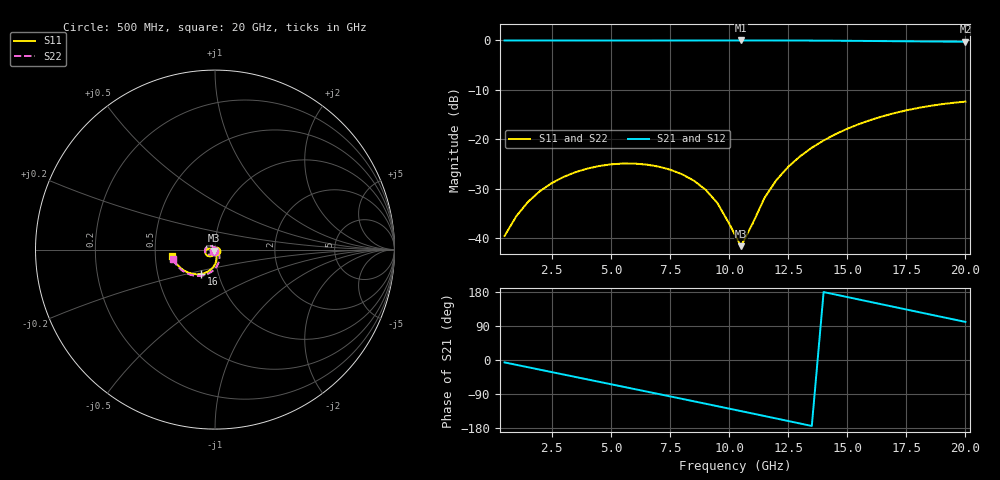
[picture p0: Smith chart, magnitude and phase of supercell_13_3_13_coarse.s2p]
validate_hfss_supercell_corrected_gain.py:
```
#!/usr/bin/env python3
"""Provisional minimal-3WM gain validation using HFSS supercell dispersion."""

from __future__ import annotations

import csv
import json
import logging
import sys
from pathlib import Path

import matplotlib

matplotlib.use("Agg")
import matplotlib.pyplot as plt
import numpy as np


ROOT = Path(__file__).resolve().parents[1]
sys.path[:0] = [str(ROOT / "code"), str(ROOT / "scripts")]

from analyze_hfss_supercell import (  # noqa: E402
    SUPERCELL_CELLS,
    read_touchstone,
)
from hfss_bloch import apply_bloch_parameters  # noqa: E402
from scan_hfss_loading_pattern import make_cell  # noqa: E402
from twpa_project_utils import gain_metrics, load_hfss_cell_parameters  # noqa: E402
from twpasolver import TWPAnalysis  # noqa: E402
from twpasolver.logger import log  # noqa: E402
from twpasolver.models import TWPA  # noqa: E402
from twpasolver.modes_rwa import ModeArrayFactory  # noqa: E402


PUMP_CANDIDATE_GHZ = 13.13
IDC_A = 350e-6
IPUMP_A = 340e-6


def qualified(metrics: dict[str, float]) -> bool:
    return (
        metrics["mean_in_band_gain_db"] >= 15.0
        and metrics["fraction_above_17db"] >= 0.8
        and metrics["ripple_peak_to_peak_db"] <= 3.0
    )


def main() -> None:
    log.setLevel(logging.WARNING)
    inputs = ROOT / "hfss_inputs"
    output = ROOT / "results" / "bloch_corrected" / "step_13_hfss_supercell_validation"
    output.mkdir(parents=True, exist_ok=True)

    cells, provenance = load_hfss_cell_parameters(inputs / "hfss_cell_parameters.csv")
    measured_f, measured_s = read_touchstone(inputs / "supercell_13_3_13_coarse.s2p")

    twpa = TWPA(
        cells=[
            make_cell(cells["unloaded"], 13),
            make_cell(cells["loaded"], 3),
            make_cell(cells["unloaded"], 13),
        ],
        N=1407,
        Istar=2e-3,
        Idc=IDC_A,
        Ip0=IPUMP_A,
    )
    analysis = TWPAnalysis(twpa=twpa, f_arange=(0.2, 20.0, 0.002), unit="GHz")
    analysis.update_base_data()
    signals = np.arange(4.0, 8.0001, 0.1)

    baseline_gain = np.asarray(
        analysis.gain(
            signals,
            pump=PUMP_CANDIDATE_GHZ,
            Is0=1.4e-6,
            Ip0=None,
            model="minimal_3wm",
            mode_array_config="basic_3wm",
            thin=300,
            save=False,
        )["gain_db"]
    )
    baseline_metrics = gain_metrics(signals, baseline_gain)

    bloch_provenance = apply_bloch_parameters(
        analysis.data, measured_f, measured_s, SUPERCELL_CELLS
    )
    analysis.add_mode_array("basic_3wm", ModeArrayFactory.create_basic(analysis.data))

    corrected_candidate_gain = np.asarray(
        analysis.gain(
            signals,
            pump=PUMP_CANDIDATE_GHZ,
            Is0=1.4e-6,
            Ip0=None,
            model="minimal_3wm",
            mode_array_config="basic_3wm",
            thin=300,
            save=False,
        )["gain_db"]
    )
    corrected_candidate_metrics = gain_metrics(signals, corrected_candidate_gain)

    rows = []
    curves: dict[float, np.ndarray] = {}
    for pump in np.arange(13.05, 13.2501, 0.01):
        gain = np.asarray(
            analysis.gain(
                signals,
                pump=float(pump),
                Is0=1.4e-6,
                Ip0=None,
                model="minimal_3wm",
                mode_array_config="basic_3wm",
                thin=300,
                save=False,
            )["gain_db"]
        )
        metrics = gain_metrics(signals, gain)
        row = {
            "pump_GHz": float(pump),
            **metrics,
            "qualified": qualified(metrics),
        }
        rows.append(row)
        curves[float(pump)] = gain

    best = max(
        rows,
        key=lambda row: (
            float(row["qualified"]),
            row["fraction_above_17db"],
            -max(0.0, row["ripple_peak_to_peak_db"] - 3.0),
            -abs(row["mean_in_band_gain_db"] - 20.0),
        ),
    )
    best_gain = curves[best["pump_GHz"]]

    with (output / "05_corrected_pump_scan.csv").open("w", newline="") as handle:
        writer = csv.DictWriter(handle, fieldnames=list(rows[0]))
        writer.writeheader()
        writer.writerows(rows)
    with (output / "05_corrected_gain_curves.csv").open("w", newline="") as handle:
        writer = csv.writer(handle)
        writer.writerow(
            [
                "signal_GHz",
                "uncorrected_13p13GHz_gain_dB",
                "HFSS_corrected_13p13GHz_gain_dB",
                "HFSS_corrected_best_pump_gain_dB",
            ]
        )
        writer.writerows(
            zip(signals, baseline_gain, corrected_candidate_gain, best_gain)
        )

    report = {
        "status": "provisional_from_0p5GHz_spaced_HFSS_Bloch_data",
        "fixed_bias": {"Idc_A": IDC_A, "Ip0_A": IPUMP_A},
        "candidate_pump_GHz": PUMP_CANDIDATE_GHZ,
        "uncorrected_candidate": baseline_metrics,
        "HFSS_corrected_candidate": corrected_candidate_metrics,
        "HFSS_corrected_pump_scan": {
            "range_GHz": [13.05, 13.25],
            "step_GHz": 0.01,
            "qualified_count": sum(bool(row["qualified"]) for row in rows),
            "selected": best,
        },
        "interpretation": (
            "Physical-supercell Bloch parameters change the predicted gain and "
            "remove the previous <=3 dB-ripple qualification at 13.13 GHz. A finer "
            "HFSS sweep is required before a final current/pump optimization."
        ),
        "bloch_extraction": bloch_provenance,
        "hfss_cell_provenance": provenance,
    }
    (output / "05_corrected_gain_assessment.json").write_text(
        json.dumps(report, indent=2) + "\n"
    )

    fig, ax = plt.subplots(figsize=(9, 5))
    ax.plot(signals, baseline_gain, label="lumped model, pump 13.13 GHz")
    ax.plot(signals, corrected_candidate_gain, label="HFSS-corrected, pump 13.13 GHz")
    ax.plot(
        signals,
        best_gain,
        "--",
        label=f"HFSS-corrected scan choice, pump {best['pump_GHz']:.2f} GHz",
    )
    ax.axhline(17, color="k", linestyle=":", label="17 dB target")
    ax.set(
        xlabel="Signal frequency (GHz)",
        ylabel="Minimal-3WM gain (dB)",
        title="Provisional gain impact of physical-supercell dispersion",
    )
    ax.grid(True, alpha=0.3)
    ax.legend(fontsize=8)
    fig.tight_layout()
    fig.savefig(output / "05_corrected_gain_validation.png", dpi=180)
    fig.savefig(output / "05_corrected_gain_validation.pdf")
    plt.close(fig)
    print(json.dumps(report, indent=2))


if __name__ == "__main__":
    main()
```
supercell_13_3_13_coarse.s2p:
! Touchstone file exported from HFSS 2026.1.0
!  File:  C:/Users/urbaneja/Ansys/13-3-3_super_cell.aedt
!  Generated:  12:46:35 PM Aug 11, 2026
!  Design:  HFSSDesign_Supercell_13_3_13
!  Project:  13-3-3_super_cell
!  Setup:  Setup1
!  Solution:  Sweep_supercell_coarse
! Variables:
!  stub_length = 12um
# GHz S RI R 50.000000
! Terminal data exported
! Port[1] = Port1
! Port[2] = Port2
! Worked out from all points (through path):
!   40 points, 500 MHz to 20 GHz, reference 50 ohm
!   highest |S21| = 0.00 dB at 10.5 GHz (marker M1); lowest = -0.3 dB at 20 GHz (marker M2)
!   group delay of S21, straight-line fit = 36.1 ps
!   lowest |S11| = -41.6 dB at 10.5 GHz (marker M3), VSWR 1.02, Z = 49.4 - j0.544 ohm
!   |S11| at or under -10 dB: start of sweep to end of sweep
!   |S22| runs from -41.6 to -12.4 dB; largest |S21 - S12| = 5.2e-05
!   S11 on the Smith chart (normalised r, x): 500 MHz: 1.01, -0.02; 16 GHz: 0.83, -0.23; 20 GHz: 0.61, -0.05
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0.5  0.00642 -0.00835  0.9937 -0.1114  0.9937 -0.1114  -0.00811 -0.00672
! Gamma 0 447.034122201352 0 429.813512138505
! Port Impedance 50 0 50 0
1.5  -0.000377 -0.0234  0.9442 -0.3286  0.9442 -0.3286  -0.0142 -0.0186
2.5  -0.0124 -0.0338  0.8477 -0.5293  0.8477 -0.5293  -0.0249 -0.026
6  -0.0529 -0.0204  0.229 -0.9718  0.229 -0.9718  -0.0565 -0.00542
9  -0.0305 0.0055  -0.4276 -0.9034  -0.4276 -0.9034  -0.0236 0.0201
10.5  -0.00619 -0.00551  -0.7046 -0.7096  -0.7046 -0.7096  0.00546 0.00623
11.5  0.00576 -0.0249  -0.8464 -0.532  -0.8464 -0.532  0.0199 -0.016
12.5  0.00895 -0.0518  -0.944 -0.3259  -0.944 -0.3259  0.0249 -0.0463
16  -0.0785 -0.1359  -0.8798 0.4486  -0.8798 0.4486  -0.0639 -0.1434
18  -0.1707 -0.1177  -0.5849 0.7841  -0.5849 0.7841  -0.1615 -0.1301
20  -0.2375 -0.0371  -0.1775 0.9543  -0.1775 0.9543  -0.2349 -0.0508
